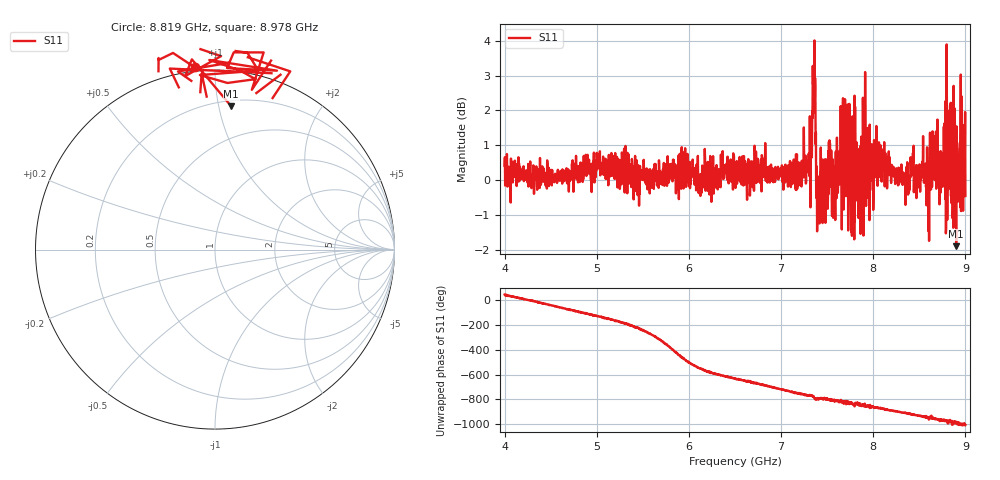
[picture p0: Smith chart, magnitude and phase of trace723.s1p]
! Created with skrf 1.8.0 (http://scikit-rf.org).
# Hz S RI R 50.0
!freq ReS11 ImS11
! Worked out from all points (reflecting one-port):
!   1601 points, 4 GHz to 9 GHz, reference 50 ohm
!   lowest |S11| = -1.9 dB at 8.9 GHz (marker M1), VSWR 9.17, Z = 12.1 + j54.5 ohm
!   phase of S11 starts at 48 deg and turns -1057 deg over the sweep
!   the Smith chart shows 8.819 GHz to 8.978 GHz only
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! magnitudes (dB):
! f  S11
! 4 GHz  0.4
! 4.625 GHz  -0.1
! 5.25 GHz  -0.3
! 5.875 GHz  -0.3
! 6.5 GHz  0.1
! 7.125 GHz  0.3
! 7.294 GHz  0.2
! 7.316 GHz  0.0
! 7.347 GHz  2.7
! 7.362 GHz  4.0
! 7.397 GHz  -0.9
! 7.412 GHz  -0.5
! 7.509 GHz  -0.4
! 7.578 GHz  0.4
! 7.672 GHz  2.3
! 7.75 GHz  0.3
! 7.769 GHz  -1.6
! 7.891 GHz  1.1
! 8.088 GHz  0.4
! 8.375 GHz  0.1
! 8.544 GHz  0.2
! 8.588 GHz  0.0
! 8.656 GHz  0.5
! 8.766 GHz  1.5
! 8.822 GHz  1.0
! 8.9 GHz  -1.9
! 8.972 GHz  0.7
! 9 GHz  -0.5
